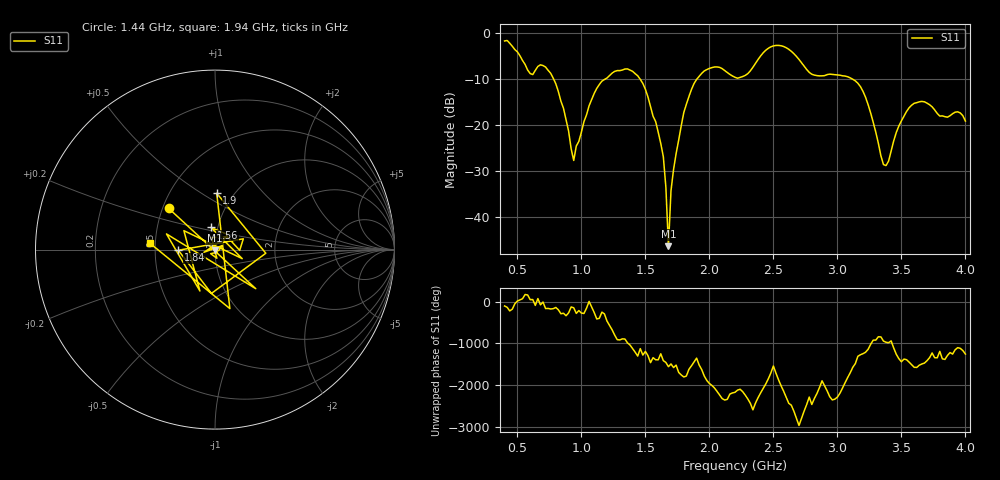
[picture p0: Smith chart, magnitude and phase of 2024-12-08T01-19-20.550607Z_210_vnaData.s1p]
!Created with skrf (http://scikit-rf.org).
# Hz S RI R 50.0
!freq ReS11 ImS11
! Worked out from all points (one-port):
!   181 points, 400 MHz to 4 GHz, reference 50 ohm
!   lowest |S11| = -46.3 dB at 1.68 GHz (marker M1), VSWR 1.01, Z = 49.8 - j0.438 ohm
!   |S11| at or under -10 dB: 783.5 MHz to 1.184 GHz (400.5 MHz wide, 40.7 % of centre); 1.459 GHz to 1.902 GHz (442.6 MHz wide, 26.3 % of centre); 3.119 GHz to end of sweep
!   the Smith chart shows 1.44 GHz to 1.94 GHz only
!   S11 on the Smith chart (normalised r, x): 1.44 GHz: 0.54, +0.28; 1.56 GHz: 0.93, +0.23; 1.84 GHz: 0.66, -0.01; 1.9 GHz: 0.83, +0.58; 1.94 GHz: 0.46, +0.04
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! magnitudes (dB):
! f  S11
! 400 MHz  -1.7
! 600 MHz  -8.8
! 720 MHz  -7.4
! 860 MHz  -16.3
! 940 MHz  -27.6
! 1.12 GHz  -12.0
! 1.3 GHz  -8.1
! 1.44 GHz  -9.3
! 1.56 GHz  -18.0
! 1.64 GHz  -26.8
! 1.66 GHz  -33.5
! 1.68 GHz  -46.3
! 1.7 GHz  -34.2
! 1.76 GHz  -23.2
! 1.84 GHz  -13.8
! 1.9 GHz  -10.0
! 1.94 GHz  -8.7
! 2.06 GHz  -7.3
! 2.2 GHz  -9.6
! 2.48 GHz  -3.0
! 2.66 GHz  -4.5
! 2.8 GHz  -8.9
! 3.1 GHz  -9.7
! 3.22 GHz  -13.9
! 3.36 GHz  -28.5
! 3.56 GHz  -16.2
! 3.68 GHz  -14.9
! 4 GHz  -19.1
